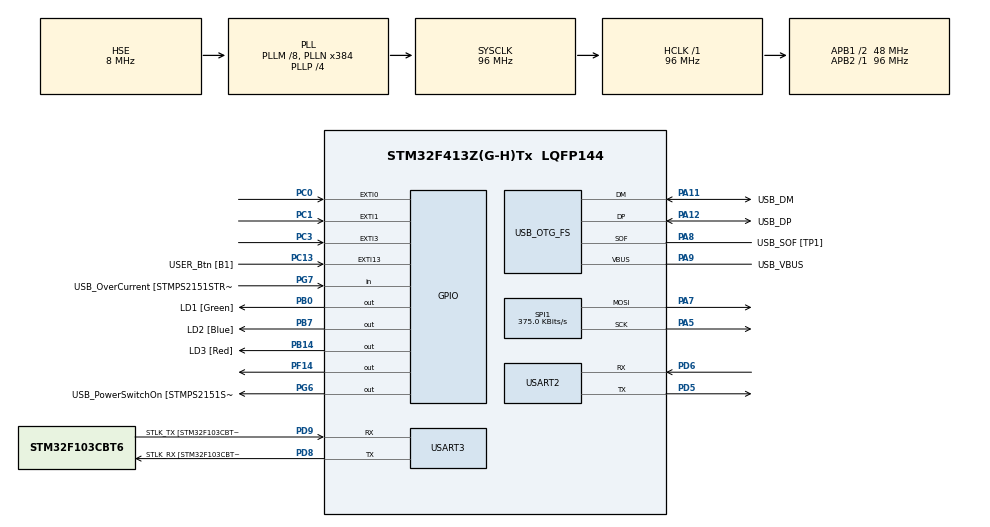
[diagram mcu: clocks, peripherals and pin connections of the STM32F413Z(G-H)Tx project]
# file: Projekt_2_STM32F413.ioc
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Dma.Request0=USART2_RX
Dma.USART2_RX.0.Direction=DMA_PERIPH_TO_MEMORY
Dma.USART2_RX.0.FIFOMode=DMA_FIFOMODE_DISABLE
Dma.USART2_RX.0.Instance=DMA1_Stream5
Dma.USART2_RX.0.MemDataAlignment=DMA_MDATAALIGN_BYTE
Dma.USART2_RX.0.MemInc=DMA_MINC_ENABLE
Dma.USART2_RX.0.Mode=DMA_CIRCULAR
Dma.USART2_RX.0.PeriphDataAlignment=DMA_PDATAALIGN_BYTE
Dma.USART2_RX.0.PeriphInc=DMA_PINC_DISABLE
Dma.USART2_RX.0.Priority=DMA_PRIORITY_VERY_HIGH
Mcu.Family=STM32F4
Mcu.Name=STM32F413Z(G-H)Tx
Mcu.Package=LQFP144
NVIC.DMA1_Stream5_IRQn=true\:0\:0\:false\:false\:true\:false\:true\:true
NVIC.EXTI0_IRQn=true\:2\:0\:true\:false\:true\:true\:true\:true
NVIC.EXTI1_IRQn=true\:2\:0\:true\:false\:true\:true\:true\:true
NVIC.EXTI3_IRQn=true\:2\:0\:true\:false\:true\:true\:true\:true
NVIC.PriorityGroup=NVIC_PRIORITYGROUP_2
NVIC.SPI1_IRQn=true\:1\:0\:true\:false\:true\:true\:true\:true
NVIC.TIM6_DAC_IRQn=true\:3\:0\:true\:false\:true\:true\:true\:true
NVIC.TIM7_IRQn=true\:2\:1\:true\:false\:true\:true\:true\:true
NVIC.USART2_IRQn=true\:0\:0\:false\:false\:true\:true\:true\:true
PA10.GPIO_Label=USB_ID
PA10.Signal=USB_OTG_FS_ID
PA11.GPIO_Label=USB_DM
PA11.Mode=Device_Only
PA11.Signal=USB_OTG_FS_DM
PA12.GPIO_Label=USB_DP
PA12.Mode=Device_Only
PA12.Signal=USB_OTG_FS_DP
PA13.GPIO_Label=TMS
PA13.Mode=Serial_Wire
PA13.Signal=SYS_JTMS-SWDIO
PA14.GPIO_Label=TCK
PA14.Mode=Serial_Wire
PA14.Signal=SYS_JTCK-SWCLK
PA5.Mode=TX_Only_Simplex_Unidirect_Master
PA5.Signal=SPI1_SCK
PA7.Mode=TX_Only_Simplex_Unidirect_Master
PA7.Signal=SPI1_MOSI
PA8.GPIO_Label=USB_SOF [TP1]
PA8.Mode=Activate_SOF_FS
PA8.Signal=USB_OTG_FS_SOF
PA9.GPIO_Label=USB_VBUS
PA9.Mode=Activate_VBUS
PA9.Signal=USB_OTG_FS_VBUS
PB0.GPIO_Label=LD1 [Green]
PB0.Signal=GPIO_Output
PB14.GPIO_Label=LD3 [Red]
PB14.Signal=GPIO_Output
PB7.GPIO_Label=LD2 [Blue]
PB7.Signal=GPIO_Output
PC0.GPIO_ModeDefaultEXTI=GPIO_MODE_IT_FALLING
PC0.Signal=GPXTI0
PC1.GPIO_ModeDefaultEXTI=GPIO_MODE_IT_FALLING
PC1.Signal=GPXTI1
PC13.GPIO_Label=USER_Btn [B1]
PC13.Signal=GPXTI13
PC14-OSC32_IN.Mode=LSE-External-Oscillator
PC14-OSC32_IN.Signal=RCC_OSC32_IN
PC15-OSC32_OUT.Mode=LSE-External-Oscillator
PC15-OSC32_OUT.Signal=RCC_OSC32_OUT
PC3.GPIO_ModeDefaultEXTI=GPIO_MODE_IT_FALLING
PC3.Signal=GPXTI3
PD5.Mode=Asynchronous
PD5.Signal=USART2_TX
PD6.Mode=Asynchronous
PD6.Signal=USART2_RX
PD8.GPIO_Label=STLK_RX [STM32F103CBT6_PA3]
PD8.Mode=Asynchronous
PD8.Signal=USART3_TX
PD9.GPIO_Label=STLK_TX [STM32F103CBT6_PA2]
PD9.Mode=Asynchronous
PD9.Signal=USART3_RX
PF14.Signal=GPIO_Output
PG6.GPIO_Label=USB_PowerSwitchOn [STMPS2151STR_EN]
PG6.Signal=GPIO_Output
PG7.GPIO_Label=USB_OverCurrent [STMPS2151STR_FAULT]
PG7.Signal=GPIO_Input
PH0\ -\ OSC_IN.GPIO_Label=MCO
PH0\ -\ OSC_IN.Mode=HSE-External-Clock-Source
PH0\ -\ OSC_IN.Signal=RCC_OSC_IN
PH1\ -\ OSC_OUT.Mode=HSE-External-Clock-Source
PH1\ -\ OSC_OUT.Signal=RCC_OSC_OUT
ProjectManager.HeapSize=0x200
ProjectManager.StackSize=0x400
ProjectManager.TargetToolchain=STM32CubeIDE
RCC.48MHZClocksFreq_Value=24000000
RCC.AHBFreq_Value=96000000
RCC.APB1CLKDivider=RCC_HCLK_DIV2
RCC.APB1Freq_Value=48000000
RCC.APB1TimFreq_Value=96000000
RCC.APB2Freq_Value=96000000
RCC.APB2TimFreq_Value=96000000
RCC.CortexFreq_Value=96000000
RCC.HCLKFreq_Value=96000000
RCC.HSE_VALUE=8000000
RCC.HSI_VALUE=16000000
RCC.PLLM=8
RCC.PLLMUL=RCC_PLL_MUL9
RCC.PLLN=384
RCC.PLLP=RCC_PLLP_DIV4
RCC.PLLQ=8
RCC.PRESCALERUSB=RCC_USBCLKSOURCE_PLL_DIV1_5
RCC.SYSCLKFreq_VALUE=96000000
RCC.SYSCLKSource=RCC_SYSCLKSOURCE_PLLCLK
RCC.SYSCLKSourceVirtual=RCC_SYSCLKSOURCE_PLLCLK
RCC.USBFreq_Value=48000000
RCC.VCOOutputFreq_Value=384000000
SPI1.BaudRatePrescaler=SPI_BAUDRATEPRESCALER_256
SPI1.CalculateBaudRate=375.0 KBits/s
SPI1.DataSize=SPI_DATASIZE_16BIT
SPI1.Direction=SPI_DIRECTION_2LINES
SPI1.FirstBit=SPI_FIRSTBIT_LSB
SPI1.Mode=SPI_MODE_MASTER
SPI1.VirtualType=VM_MASTER
TIM6.Period=3000
TIM6.Prescaler=96
TIM7.Period=50000
TIM7.Prescaler=9599
USART2.VirtualMode=VM_ASYNC
USART3.VirtualMode=VM_ASYNC
USB_OTG_FS.VirtualMode=Device_Only
VP_TIM6_VS_ClockSourceINT.Mode=Enable_Timer
VP_TIM7_VS_ClockSourceINT.Mode=Enable_Timer
board=NUCLEO-F413ZH

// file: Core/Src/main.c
/* USER CODE BEGIN Header */
/**
  ******************************************************************************
  * @file           : main.c
  * @brief          : Main program body
  ******************************************************************************
  * @attention
  *
  * Copyright (c) 2023 STMicroelectronics.
  * All rights reserved.
  *
  * This software is licensed under terms that can be found in the LICENSE file
  * in the root directory of this software component.
  * If no LICENSE file comes with this software, it is provided AS-IS.
  *
  ******************************************************************************
  */
/* USER CODE END Header */
#include "main.h"

SPI_HandleTypeDef hspi1;

TIM_HandleTypeDef htim6;
TIM_HandleTypeDef htim7;

UART_HandleTypeDef huart2;
UART_HandleTypeDef huart3;
DMA_HandleTypeDef hdma_usart2_rx;

PCD_HandleTypeDef hpcd_USB_OTG_FS;

/* USER CODE BEGIN PV */
uint8_t currentDigit = 0;	// Currently activated digit
uint8_t isHum = 0;			// Flag if the display shows temperture or humidity
char data[8];				// Field containing the data received from UART; Destination of UART DMA
							// Data is send in the format: [t-32h 67] (one field for temperture and humidity for easy DMA transactions

// Field with 7 Bits (low active) for displaying a character as 7 segment
uint8_t digits[] = {
		0b0000001, // 0
		0b1001111, // 1
		0b0010010, // 2
		0b0000110, // 3
		0b1001100, // 4
		0b0100100, // 5
		0b0100000, // 6
		0b0001111, // 7
		0b0000000, // 8
		0b0000100, // 9
		0b1111111, // 10: Nothing (space)
		0b1111110, // 11: minus
		0b1110000, // 12: t
		0b1101000, // 13: h
};

// Field for addressing the several digits through the shift register
uint8_t switch_digits[] = {
		0b10000000,
		0b01000000,
		0b00100000,
		0b00010000,
};

// Field containing the bitvalues send per SPI to the shift registers for each digit
uint16_t number[4];
/* USER CODE END PV */

void SystemClock_Config(void);
static void MX_GPIO_Init(void);
static void MX_DMA_Init(void);
static void MX_USART3_UART_Init(void);
static void MX_USB_OTG_FS_PCD_Init(void);
static void MX_USART2_UART_Init(void);
static void MX_SPI1_Init(void);
static void MX_TIM6_Init(void);
static void MX_TIM7_Init(void);

/* USER CODE BEGIN 0 */
/*
 * Sets the bitmaps in the number field given the data string in the format [t-32h 67]
 */
void reloadNumber(char *display)
{
	// Checking if t or h should be displayed as first character
	if (display[0] == 't')
	{
		number[0] = switch_digits[0] << 8 | digits[12] << 1 | 1;	//
	}
	else
	{
		number[0] = switch_digits[0] << 8 | digits[13] << 1 | 1;
	}

	// Checking if the value is negative (show '-'), positive or has three digits for the second digit
	if (display[1] == ' ')
	{
		number[1] = switch_digits[1] << 8 | digits[10] << 1 | 1;

	}
	else if (display[1] == '-')
	{
		number[1] = switch_digits[1] << 8 | digits[11] << 1 | 1;
	}
	else
	{
		number[1] = switch_digits[1] << 8 | digits[display[1] - 0x30] << 1 | 1;
	}

	// Setting the last two digits
	number[2] =  switch_digits[2] << 8 | digits[display[2] - 0x30] << 1 | 1;
	number[3] =  switch_digits[3] << 8 | digits[display[3] - 0x30] << 1 | 1;
}
/* USER CODE END 0 */

int main(void)
{

  /* MCU Configuration--------------------------------------------------------*/

  /* Reset of all peripherals, Initializes the Flash interface and the Systick. */
  HAL_Init();

  /* Configure the system clock */
  SystemClock_Config();

  /* Initialize all configured peripherals */
  MX_GPIO_Init();
  MX_DMA_Init();
  MX_USART3_UART_Init();
  MX_USB_OTG_FS_PCD_Init();
  MX_USART2_UART_Init();
  MX_SPI1_Init();
  MX_TIM6_Init();
  MX_TIM7_Init();
  /* USER CODE BEGIN 2 */

  HAL_TIM_Base_Start_IT(&htim6);			// Start timer 6 for switching the digits
  HAL_UART_Receive_DMA(&huart2, &data, 8);	// Start listening for incoming UART transactions that are handled by DMA

  /* USER CODE END 2 */

  /* Infinite loop */
  while (1)
  {

  }
}

void SystemClock_Config(void)
{
  RCC_OscInitTypeDef RCC_OscInitStruct = {0};
  RCC_ClkInitTypeDef RCC_ClkInitStruct = {0};

  /** Configure the main internal regulator output voltage
  */
  __HAL_RCC_PWR_CLK_ENABLE();
  __HAL_PWR_VOLTAGESCALING_CONFIG(PWR_REGULATOR_VOLTAGE_SCALE1);

  /** Initializes the RCC Oscillators according to the specified parameters
  * in the RCC_OscInitTypeDef structure.
  */
  RCC_OscInitStruct.OscillatorType = RCC_OSCILLATORTYPE_HSE;
  RCC_OscInitStruct.HSEState = RCC_HSE_BYPASS;
  RCC_OscInitStruct.PLL.PLLState = RCC_PLL_ON;
  RCC_OscInitStruct.PLL.PLLSource = RCC_PLLSOURCE_HSE;
  RCC_OscInitStruct.PLL.PLLM = 8;
  RCC_OscInitStruct.PLL.PLLN = 384;
  RCC_OscInitStruct.PLL.PLLP = RCC_PLLP_DIV4;
  RCC_OscInitStruct.PLL.PLLQ = 8;
  RCC_OscInitStruct.PLL.PLLR = 2;
  if (HAL_RCC_OscConfig(&RCC_OscInitStruct) != HAL_OK)
  {
    Error_Handler();
  }

  /** Initializes the CPU, AHB and APB buses clocks
  */
  RCC_ClkInitStruct.ClockType = RCC_CLOCKTYPE_HCLK|RCC_CLOCKTYPE_SYSCLK
                              |RCC_CLOCKTYPE_PCLK1|RCC_CLOCKTYPE_PCLK2;
  RCC_ClkInitStruct.SYSCLKSource = RCC_SYSCLKSOURCE_PLLCLK;
  RCC_ClkInitStruct.AHBCLKDivider = RCC_SYSCLK_DIV1;
  RCC_ClkInitStruct.APB1CLKDivider = RCC_HCLK_DIV2;
  RCC_ClkInitStruct.APB2CLKDivider = RCC_HCLK_DIV1;

  if (HAL_RCC_ClockConfig(&RCC_ClkInitStruct, FLASH_LATENCY_3) != HAL_OK)
  {
    Error_Handler();
  }
}

static void MX_SPI1_Init(void)
{

  /* SPI1 parameter configuration*/
  hspi1.Instance = SPI1;
  hspi1.Init.Mode = SPI_MODE_MASTER;
  hspi1.Init.Direction = SPI_DIRECTION_2LINES;
  hspi1.Init.DataSize = SPI_DATASIZE_16BIT;
  hspi1.Init.CLKPolarity = SPI_POLARITY_LOW;
  hspi1.Init.CLKPhase = SPI_PHASE_1EDGE;
  hspi1.Init.NSS = SPI_NSS_SOFT;
  hspi1.Init.BaudRatePrescaler = SPI_BAUDRATEPRESCALER_256;
  hspi1.Init.FirstBit = SPI_FIRSTBIT_LSB;
  hspi1.Init.TIMode = SPI_TIMODE_DISABLE;
  hspi1.Init.CRCCalculation = SPI_CRCCALCULATION_DISABLE;
  hspi1.Init.CRCPolynomial = 10;
  if (HAL_SPI_Init(&hspi1) != HAL_OK)
  {
    Error_Handler();
  }

}

static void MX_TIM6_Init(void)
{

  TIM_MasterConfigTypeDef sMasterConfig = {0};

  htim6.Instance = TIM6;
  htim6.Init.Prescaler = 96;
  htim6.Init.CounterMode = TIM_COUNTERMODE_UP;
  htim6.Init.Period = 3000;
  htim6.Init.AutoReloadPreload = TIM_AUTORELOAD_PRELOAD_DISABLE;
  if (HAL_TIM_Base_Init(&htim6) != HAL_OK)
  {
    Error_Handler();
  }
  sMasterConfig.MasterOutputTrigger = TIM_TRGO_RESET;
  sMasterConfig.MasterSlaveMode = TIM_MASTERSLAVEMODE_DISABLE;
  if (HAL_TIMEx_MasterConfigSynchronization(&htim6, &sMasterConfig) != HAL_OK)
  {
    Error_Handler();
  }

}

static void MX_TIM7_Init(void)
{

  TIM_MasterConfigTypeDef sMasterConfig = {0};

  htim7.Instance = TIM7;
  htim7.Init.Prescaler = 9599;
  htim7.Init.CounterMode = TIM_COUNTERMODE_UP;
  htim7.Init.Period = 50000;
  htim7.Init.AutoReloadPreload = TIM_AUTORELOAD_PRELOAD_DISABLE;
  if (HAL_TIM_Base_Init(&htim7) != HAL_OK)
  {
    Error_Handler();
  }
  sMasterConfig.MasterOutputTrigger = TIM_TRGO_RESET;
  sMasterConfig.MasterSlaveMode = TIM_MASTERSLAVEMODE_DISABLE;
  if (HAL_TIMEx_MasterConfigSynchronization(&htim7, &sMasterConfig) != HAL_OK)
  {
    Error_Handler();
  }

}

static void MX_USART2_UART_Init(void)
{

  huart2.Instance = USART2;
  huart2.Init.BaudRate = 115200;
  huart2.Init.WordLength = UART_WORDLENGTH_8B;
  huart2.Init.StopBits = UART_STOPBITS_1;
  huart2.Init.Parity = UART_PARITY_NONE;
  huart2.Init.Mode = UART_MODE_TX_RX;
  huart2.Init.HwFlowCtl = UART_HWCONTROL_NONE;
  huart2.Init.OverSampling = UART_OVERSAMPLING_16;
  if (HAL_UART_Init(&huart2) != HAL_OK)
  {
    Error_Handler();
  }

}

static void MX_USART3_UART_Init(void)
{

  huart3.Instance = USART3;
  huart3.Init.BaudRate = 115200;
  huart3.Init.WordLength = UART_WORDLENGTH_8B;
  huart3.Init.StopBits = UART_STOPBITS_1;
  huart3.Init.Parity = UART_PARITY_NONE;
  huart3.Init.Mode = UART_MODE_TX_RX;
  huart3.Init.HwFlowCtl = UART_HWCONTROL_NONE;
  huart3.Init.OverSampling = UART_OVERSAMPLING_16;
  if (HAL_UART_Init(&huart3) != HAL_OK)
  {
    Error_Handler();
  }

}

static void MX_USB_OTG_FS_PCD_Init(void)
{

  hpcd_USB_OTG_FS.Instance = USB_OTG_FS;
  hpcd_USB_OTG_FS.Init.dev_endpoints = 6;
  hpcd_USB_OTG_FS.Init.speed = PCD_SPEED_FULL;
  hpcd_USB_OTG_FS.Init.dma_enable = DISABLE;
  hpcd_USB_OTG_FS.Init.phy_itface = PCD_PHY_EMBEDDED;
  hpcd_USB_OTG_FS.Init.Sof_enable = ENABLE;
  hpcd_USB_OTG_FS.Init.low_power_enable = DISABLE;
  hpcd_USB_OTG_FS.Init.lpm_enable = DISABLE;
  hpcd_USB_OTG_FS.Init.battery_charging_enable = ENABLE;
  hpcd_USB_OTG_FS.Init.vbus_sensing_enable = ENABLE;
  hpcd_USB_OTG_FS.Init.use_dedicated_ep1 = DISABLE;
  if (HAL_PCD_Init(&hpcd_USB_OTG_FS) != HAL_OK)
  {
    Error_Handler();
  }

}

static void MX_DMA_Init(void)
{

  /* DMA controller clock enable */
  __HAL_RCC_DMA1_CLK_ENABLE();

  /* DMA interrupt init */
  /* DMA1_Stream5_IRQn interrupt configuration */
  HAL_NVIC_SetPriority(DMA1_Stream5_IRQn, 0, 0);
  HAL_NVIC_EnableIRQ(DMA1_Stream5_IRQn);

}

static void MX_GPIO_Init(void)
{
  GPIO_InitTypeDef GPIO_InitStruct = {0};

  /* GPIO Ports Clock Enable */
  __HAL_RCC_GPIOC_CLK_ENABLE();
  __HAL_RCC_GPIOH_CLK_ENABLE();
  __HAL_RCC_GPIOA_CLK_ENABLE();
  __HAL_RCC_GPIOB_CLK_ENABLE();
  __HAL_RCC_GPIOF_CLK_ENABLE();
  __HAL_RCC_GPIOD_CLK_ENABLE();
  __HAL_RCC_GPIOG_CLK_ENABLE();

  /*Configure GPIO pin Output Level */
  HAL_GPIO_WritePin(GPIOB, LD1_Pin|LD3_Pin|LD2_Pin, GPIO_PIN_RESET);

  /*Configure GPIO pin Output Level */
  HAL_GPIO_WritePin(GPIOF, GPIO_PIN_14, GPIO_PIN_RESET);

  /*Configure GPIO pin Output Level */
  HAL_GPIO_WritePin(USB_PowerSwitchOn_GPIO_Port, USB_PowerSwitchOn_Pin, GPIO_PIN_RESET);

  /*Configure GPIO pin : USER_Btn_Pin */
  GPIO_InitStruct.Pin = USER_Btn_Pin;
  GPIO_InitStruct.Mode = GPIO_MODE_IT_RISING;
  GPIO_InitStruct.Pull = GPIO_NOPULL;
  HAL_GPIO_Init(USER_Btn_GPIO_Port, &GPIO_InitStruct);

  /*Configure GPIO pins : PC0 PC1 PC3 */
  GPIO_InitStruct.Pin = GPIO_PIN_0|GPIO_PIN_1|GPIO_PIN_3;
  GPIO_InitStruct.Mode = GPIO_MODE_IT_FALLING;
  GPIO_InitStruct.Pull = GPIO_NOPULL;
  HAL_GPIO_Init(GPIOC, &GPIO_InitStruct);

  /*Configure GPIO pins : LD1_Pin LD3_Pin LD2_Pin */
  GPIO_InitStruct.Pin = LD1_Pin|LD3_Pin|LD2_Pin;
  GPIO_InitStruct.Mode = GPIO_MODE_OUTPUT_PP;
  GPIO_InitStruct.Pull = GPIO_NOPULL;
  GPIO_InitStruct.Speed = GPIO_SPEED_FREQ_LOW;
  HAL_GPIO_Init(GPIOB, &GPIO_InitStruct);

  /*Configure GPIO pin : PF14 */
  GPIO_InitStruct.Pin = GPIO_PIN_14;
  GPIO_InitStruct.Mode = GPIO_MODE_OUTPUT_PP;
  GPIO_InitStruct.Pull = GPIO_NOPULL;
  GPIO_InitStruct.Speed = GPIO_SPEED_FREQ_LOW;
  HAL_GPIO_Init(GPIOF, &GPIO_InitStruct);

  /*Configure GPIO pin : USB_PowerSwitchOn_Pin */
  GPIO_InitStruct.Pin = USB_PowerSwitchOn_Pin;
  GPIO_InitStruct.Mode = GPIO_MODE_OUTPUT_PP;
  GPIO_InitStruct.Pull = GPIO_NOPULL;
  GPIO_InitStruct.Speed = GPIO_SPEED_FREQ_LOW;
  HAL_GPIO_Init(USB_PowerSwitchOn_GPIO_Port, &GPIO_InitStruct);

  /*Configure GPIO pin : USB_OverCurrent_Pin */
  GPIO_InitStruct.Pin = USB_OverCurrent_Pin;
  GPIO_InitStruct.Mode = GPIO_MODE_INPUT;
  GPIO_InitStruct.Pull = GPIO_NOPULL;
  HAL_GPIO_Init(USB_OverCurrent_GPIO_Port, &GPIO_InitStruct);

  /* EXTI interrupt init*/
  HAL_NVIC_SetPriority(EXTI0_IRQn, 2, 0);
  HAL_NVIC_EnableIRQ(EXTI0_IRQn);

  HAL_NVIC_SetPriority(EXTI1_IRQn, 2, 0);
  HAL_NVIC_EnableIRQ(EXTI1_IRQn);

  HAL_NVIC_SetPriority(EXTI3_IRQn, 2, 0);
  HAL_NVIC_EnableIRQ(EXTI3_IRQn);

}

/* USER CODE BEGIN 4 */
/*
 * ISR for externel interrupts triggered by the buttons
 */
void HAL_GPIO_EXTI_Callback(uint16_t GPIO_Pin)
{
	// Button left: show temperature
	if (GPIO_Pin == GPIO_PIN_0)
	{
		// Stop timer 7 to disable automatically switching between temperature and humidity
		HAL_TIM_Base_Stop_IT(&htim7);
		isHum = 0;
	}
	// Button right: show humidity
	else if (GPIO_Pin == GPIO_PIN_1)
	{
		HAL_TIM_Base_Stop_IT(&htim7);
		isHum = 1;
	}
	// Button center: Enable automatically switching between temperature and humidity
	else if (GPIO_Pin == GPIO_PIN_3)
	{
		// Resetting the timer's counter register so it start always with 5s left
		__HAL_TIM_SET_COUNTER(&htim7, 0);
		// Starting the timer 7 which switches every 5s
		HAL_TIM_Base_Start_IT(&htim7);
		// Toggle flag and reload output to switch display directly after pressing the button
		isHum ^= 1;
		reloadNumber(&data[isHum * 4]);
	}
}

/*
 * Timer ISR
 */
void HAL_TIM_PeriodElapsedCallback(TIM_HandleTypeDef *htim)
{
	// If triggered by timer 6 (ca. 300Hz): Send the values for the current digit per SPI to the shift registers; Switch digit
	if (htim == &htim6)
	{
		// Reload the output field with the right data (temperature: data[0]; humidity: data[4])
		reloadNumber(&data[isHum * 4]);
		HAL_SPI_Transmit_IT(&hspi1, &number[currentDigit], 1);
		currentDigit = (currentDigit + 1) % 4;
	}
	// If triggered by timer 7 (every 5s if enabled): Toggle between temperature and humidity and reload output
	else if (htim == &htim7)
	{
		isHum ^= 1;
		reloadNumber(&data[(isHum) * 4]);
	}
}

/*
 * ISR called when SPI transmission completed
 */
void HAL_SPI_TxCpltCallback(SPI_HandleTypeDef *hspi)
{
	// Generate a rising edge to the shift registers' latch pin to output the transmitted values
	HAL_GPIO_WritePin(GPIOF, GPIO_PIN_14, RESET);
	HAL_GPIO_WritePin(GPIOF, GPIO_PIN_14, SET);
}

/* USER CODE END 4 */

void Error_Handler(void)
{
  __disable_irq();
  while (1)
  {
  }
}
